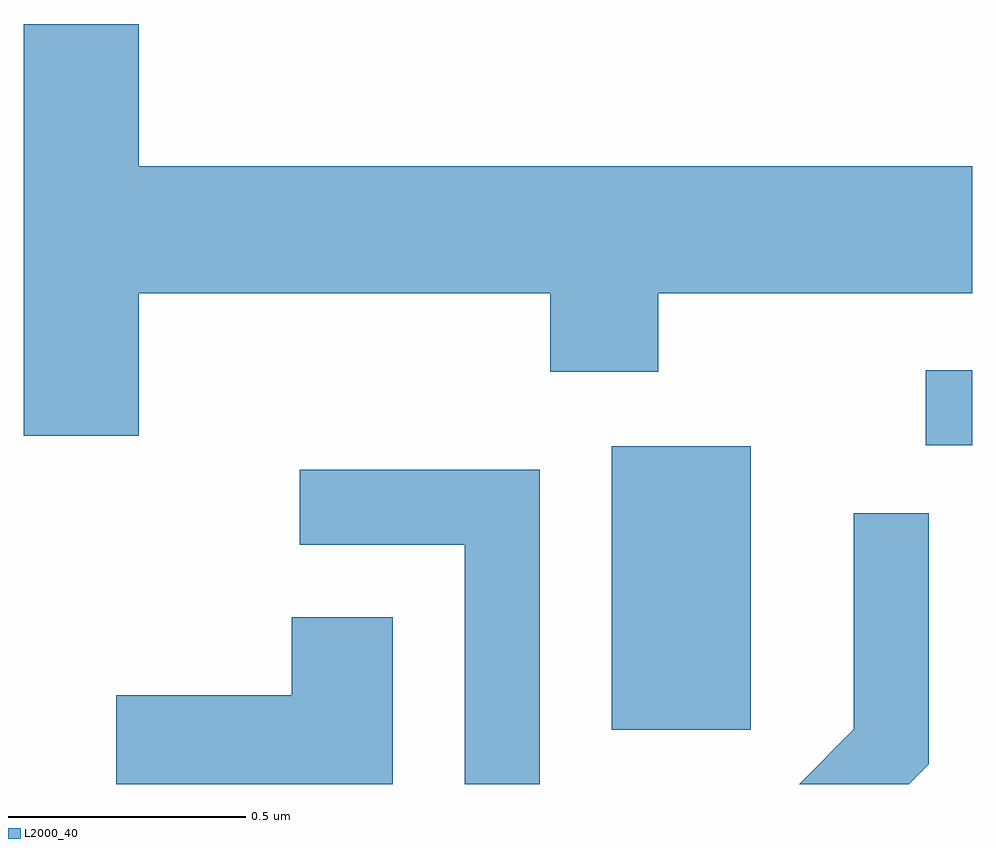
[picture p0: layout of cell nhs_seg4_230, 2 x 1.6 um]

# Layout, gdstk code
import gdstk
lib = gdstk.Library(unit=1e-6, precision=1e-09)
def R(c, l, rs):  # rectangles x0, y0, x1, y1
    for r in rs: c.add(gdstk.rectangle(r[:2], r[2:], *l))
def P(c, l, *ps):  # polygons
    for p in ps: c.add(gdstk.Polygon(p, *l))
L2000_40 = (2000, 40)

nhs_seg4_230 = lib.new_cell('nhs_seg4_230')
R(nhs_seg4_230, L2000_40, [(187.851,1347.096,188.144,1347.694), (188.513,1347.696,188.611,1347.854)])
P(nhs_seg4_230, L2000_40, [(186.854,1348.016),(187.721,1348.016),(187.721,1347.851),(187.949,1347.851),(187.949,1348.016),(188.611,1348.016),(188.611,1348.284),(186.854,1348.284),(186.854,1348.584),(186.611,1348.584),(186.611,1347.716),(186.854,1347.716)],
  [(187.699,1347.644),(187.193,1347.644),(187.193,1347.486),(187.541,1347.486),(187.541,1346.982),(187.699,1346.982)],
  [(188.519,1347.024),(188.519,1347.553),(188.361,1347.553),(188.361,1347.097),(188.246,1346.982),(188.477,1346.982)],
  [(187.389,1347.334),(187.176,1347.334),(187.176,1347.169),(186.806,1347.169),(186.806,1346.982),(187.389,1346.982)])

lib.write_gds('nhs_seg4_230.gds')
